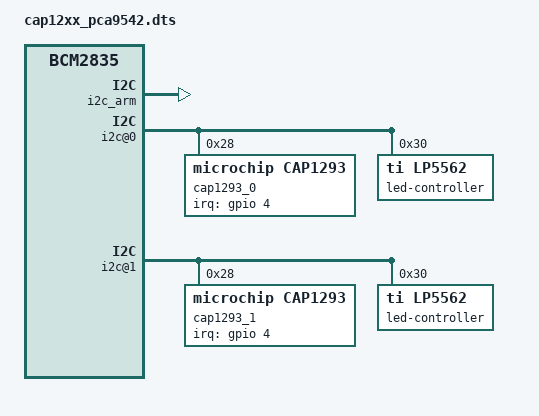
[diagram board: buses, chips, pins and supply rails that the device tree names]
/dts-v1/;
/plugin/;

/ {
    compatible = "brcm,bcm2835";

    fragment@0 {
        target = <&i2cbus>;
        __dormant__ {
            #address-cells = <1>;
            #size-cells = <0>;
            status = "okay";

            pca9542: mux@70 {
                compatible = "nxp,pca9542";
                reg = <0x70>;
                #address-cells = <1>;
                #size-cells = <0>;

                i2c_pca9542_0: i2c@0 {
                    #address-cells = <1>;
                    #size-cells = <0>;
                    reg = <0>;
                };

                i2c_pca9542_1: i2c@1 {
                    #address-cells = <1>;
                    #size-cells = <0>;
                    reg = <1>;
                };
            };
        };
    };

    frag100: fragment@100 {
        target = <&i2c_arm>;
        i2cbus: __overlay__ {
            status = "okay";
        };
    };

    fragment@101 {
        target = <&i2c0if>;
        __dormant__ {
            status = "okay";
        };
    };

    fragment@102 {
        target = <&i2c0mux>;
        __dormant__ {
            status = "okay";
        };
    };

    fragment@103 {
        target = <&gpio>;
        __overlay__ {
            cap1293_pins_0: cap1293_pins_0 {
                brcm,pins = <4>;
                brcm,function = <0>; /* in */
                brcm,pull = <0>; /* none */
            };
        };
    };

    fragment@104 {
        target-path = "/soc/i2c@7e804000/mux@70/i2c@0"; //phandle for i2c channel 1 on pca954x
        __overlay__{
            status = "okay";
            cap1293_0: cap1293_0@28 {
                compatible = "microchip,cap1293";
                pinctrl-0 = <&cap1293_pins_0>;
                pinctrl-names = "default";
                interrupt-parent = <&gpio>;
                interrupts = <4 2>;
                microchip,signal-guard = <1>;
                microchip,sensitivity-delta-sense = <16>;
                reg = <0x28>;
                autorepeat;
                microchip,sensor-gain = <2>;
                linux,keycodes = <2>;
                #address-cells = <1>;
                #size-cells = <0>;
                status = "okay";
            };
        };
    };

    fragment@105 {
        target = <&gpio>;
        __overlay__ {
            cap1293_pins_1: cap1293_pins_1 {
                brcm,pins = <4>;
                brcm,function = <0>; /* in */
                brcm,pull = <0>; /* none */
            };
        };
    };

    fragment@106 {
        target-path = "/soc/i2c@7e804000/mux@70/i2c@1"; //phandle for i2c channel 1 on pca954x
        __overlay__{
            status = "okay";
            cap1293_1: cap1293_1@28 {
                compatible = "microchip,cap1293";
                pinctrl-0 = <&cap1293_pins_1>;
                pinctrl-names = "default";
                interrupt-parent = <&gpio>;
                microchip,signal-guard = <1>;
                interrupts = <4 2>;
                reg = <0x28>;
                autorepeat;
                microchip,sensor-gain = <2>;
                linux,keycodes = <5>;
                #address-cells = <1>;
                #size-cells = <0>;
                status = "okay";
            };
        };
    };


    fragment@107 {
        target-path = "/soc/i2c@7e804000/mux@70/i2c@0"; //phandle for i2c channel 1 on pca954x

        __overlay__ {
            led-controller@30 {
                #address-cells = <1>;
                #size-cells = <0>;
                compatible = "ti,lp5562";
                reg = <0x30>;
                clock-mode = <0>;
                pwr-sel = <3>;	/* D1~9 connected to VOUT */

                led@0 {
                    reg = <0>;
                    chan-name = "red_0";
                    led-cur = /bits/ 8 <0x32>;
                    max-cur = /bits/ 8 <0xC8>;
                    color = <0>; // 0 red, 1 green, 2 blue
                };

                led@1 {
                    reg = <1>;
                    chan-name = "green_0";
                    led-cur = /bits/ 8 <0x32>;
                    max-cur = /bits/ 8 <0xC8>;
                    color = <1>; // 0 red, 1 green, 2 blue
                };

                led@2 {
                    reg = <2>;
                    chan-name = "blue_0";
                    led-cur = /bits/ 8 <0x32>;
                    max-cur = /bits/ 8 <0xC8>;
                    color = <2>; // 0 red, 1 green, 2 blue
                };


            
            };
        };
    };

    fragment@108 {
        target-path = "/soc/i2c@7e804000/mux@70/i2c@1"; //phandle for i2c channel 1 on pca954x

        __overlay__ {
            led-controller@30 {
                #address-cells = <1>;
                #size-cells = <0>;
                compatible = "ti,lp5562";
                reg = <0x30>;
                clock-mode = <0>;
                pwr-sel = <3>;	/* D1~9 connected to VOUT */

                led@0 {
                    reg = <0>;
                    chan-name = "red_1";
                    led-cur = /bits/ 8 <0x32>;
                    max-cur = /bits/ 8 <0xC8>;
                    color = <0>; // 0 red, 1 green, 2 blue
                };

                led@1 {
                    reg = <1>;
                    chan-name = "green_1";
                    led-cur = /bits/ 8 <0x32>;
                    max-cur = /bits/ 8 <0xC8>;
                    color = <1>; // 0 red, 1 green, 2 blue
                };

                led@2 {
                    reg = <2>;
                    chan-name = "blue_1";
                    led-cur = /bits/ 8 <0x32>;
                    max-cur = /bits/ 8 <0xC8>;
                    color = <2>; // 0 red, 1 green, 2 blue
                };


            
            };
        };
    };

    fragment@109 {
        target = <&i2c_arm>;
        __overlay__ {
            status = "okay";
        };
    };



    __overrides__ {
        pca9542 = <0>, "+0";


        addr =  <&pca9542>,"reg:0";

        i2c0 = <&frag100>, "target:0=",<&i2c0>,
                <0>,"+101+102";
        i2c_csi_dsi = <&frag100>, "target:0=",<&i2c_csi_dsi>,
                <0>,"+101+102";
        i2c3 = <&frag100>, "target?=0",
                <&frag100>, "target-path=i2c3";
        i2c4 = <&frag100>, "target?=0",
                <&frag100>, "target-path=i2c4";
        i2c5 = <&frag100>, "target?=0",
                <&frag100>, "target-path=i2c5";
        i2c6 = <&frag100>, "target?=0",
                <&frag100>, "target-path=i2c6";



        int_pin_0 = <&cap1293_0>, "interrupts:0",
                  <&cap1293_pins_0>, "brcm,pins:0";
                  
        int_pin_1 = <&cap1293_1>, "interrupts:0",
                  <&cap1293_pins_1>, "brcm,pins:0";

    };

    // aliases {
    //     i2c_pca9542_0 = &i2c_pca9542_0; // Define alias for i2c_pca9542_0
    // };
};
